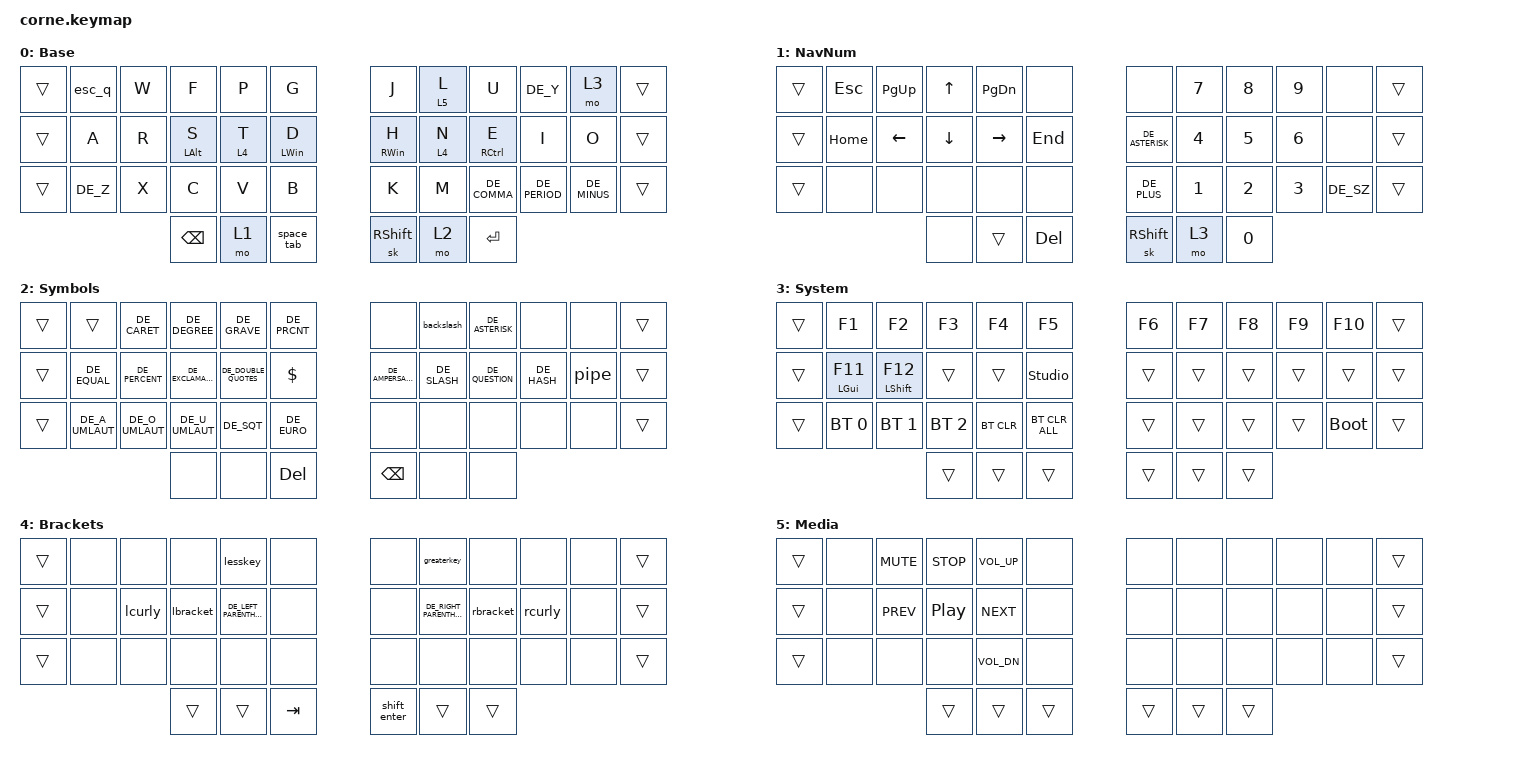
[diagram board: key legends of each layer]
#include <behaviors.dtsi>
#include <dt-bindings/zmk/bt.h>
#include <dt-bindings/zmk/keys.h>
#include <locale/keys_de.h>

#define DEF 0
#define NAV 1
#define SYM 2
#define ADJ 3
#define EXTRA 4
#define MEDIA 5

/ {
    behaviors {
        hm: homerow_mods {
            compatible = "zmk,behavior-hold-tap";
            #binding-cells = <2>;
            flavor = "tap-preferred";
            tapping-term-ms = <280>;        // up from 175
            quick-tap-ms = <175>;           // up slightly
            require-prior-idle-ms = <175>;  // up from 100 — this kills the ctrl+a problem
            bindings = <&kp>, <&kp>;
        };

        para: para {
            compatible = "zmk,behavior-tap-dance";
            #binding-cells = <0>;
            bindings = <&kp LEFT_PARENTHESIS>, <&kp RIGHT_PARENTHESIS>;
        };

        caps: caps {
            compatible = "zmk,behavior-caps-word";
            #binding-cells = <0>;
            continue-list = <MINUS BACKSPACE>;
        };

        paraless: paraless {
            compatible = "zmk,behavior-mod-morph";
            bindings = <&kp LEFT_PARENTHESIS>, <&kp LESS_THAN>;

            #binding-cells = <0>;
            mods = <(MOD_LSFT)>;
        };

        paragreat: paragreat {
            compatible = "zmk,behavior-mod-morph";
            bindings = <&kp RIGHT_PARENTHESIS>, <&kp GREATER_THAN>;

            #binding-cells = <0>;
            mods = <(MOD_LSFT)>;
        };

        esc_q: esc_q {
            compatible = "zmk,behavior-tap-dance";
            label = "ESC_Q";
            #binding-cells = <0>;
            bindings = <&kp Q>, <&kp ESCAPE>;
        };

        space_tab: space_tab {
            compatible = "zmk,behavior-tap-dance";
            label = "SPACE_TAB";
            #binding-cells = <0>;
            bindings = <&kp SPACE>, <&kp TAB>;

            tapping-term-ms = <175>;
        };
    };

    macros {
        browsertab: browsertab {
            compatible = "zmk,behavior-macro";
            #binding-cells = <0>;
            bindings =
                <&macro_press>,
                <&kp LCTRL>,
                <&macro_tap>,
                <&kp TAB>,
                <&macro_release>,
                <&kp LCTRL>;
        };

        // macOS browser reload (CMD+R)
        reload: reload {
            compatible = "zmk,behavior-macro";
            #binding-cells = <0>;
            wait-ms = <0>;
            tap-ms = <0>;
            bindings = <&macro_press &kp LGUI>
                     , <&macro_tap &kp R>
                     , <&macro_release &kp LGUI>;
        };

        // macOS left curly brace (AltGr+8)
        lcurly: lcurly {
            compatible = "zmk,behavior-macro";
            #binding-cells = <0>;
            wait-ms = <0>;
            tap-ms = <0>;
            bindings = <&macro_press &kp RALT>
                     , <&macro_tap &kp N8>
                     , <&macro_release &kp RALT>;
        };

        // macOS right curly brace (AltGr+9)
        rcurly: rcurly {
            compatible = "zmk,behavior-macro";
            #binding-cells = <0>;
            wait-ms = <0>;
            tap-ms = <0>;
            bindings = <&macro_press &kp RALT>
                     , <&macro_tap &kp N9>
                     , <&macro_release &kp RALT>;
        };

        // macOS pipe (AltGr+7)
        pipe: pipe {
            compatible = "zmk,behavior-macro";
            #binding-cells = <0>;
            wait-ms = <0>;
            tap-ms = <0>;
            bindings = <&macro_press &kp RALT>
                     , <&macro_tap &kp N7>
                     , <&macro_release &kp RALT>;
        };

        // macOS backslash (AltGr+Shift+7)
        backslash: backslash {
            compatible = "zmk,behavior-macro";
            #binding-cells = <0>;
            wait-ms = <0>;
            tap-ms = <0>;
            bindings = <&macro_press &kp RALT &kp LSHFT>
                     , <&macro_tap &kp N7>
                     , <&macro_release &kp LSHFT &kp RALT>;
        };

        // macOS less than (<) - German keyboard (NUBS key)
        lesskey: lesskey {
            compatible = "zmk,behavior-macro";
            #binding-cells = <0>;
            wait-ms = <0>;
            tap-ms = <0>;
            bindings = <&macro_tap &kp NUBS>;
        };

        // macOS greater than (>) - German keyboard (Shift + NUBS)
        greaterkey: greaterkey {
            compatible = "zmk,behavior-macro";
            #binding-cells = <0>;
            wait-ms = <0>;
            tap-ms = <0>;
            bindings = <&macro_press &kp LSHFT>
                     , <&macro_tap &kp NUBS>
                     , <&macro_release &kp LSHFT>;
        };

        // macOS left bracket (AltGr+5)
        lbracket: lbracket {
            compatible = "zmk,behavior-macro";
            #binding-cells = <0>;
            wait-ms = <0>;
            tap-ms = <0>;
            bindings = <&macro_press &kp RALT>
                     , <&macro_tap &kp N5>
                     , <&macro_release &kp RALT>;
        };

        // macOS right bracket (AltGr+6)
        rbracket: rbracket {
            compatible = "zmk,behavior-macro";
            #binding-cells = <0>;
            wait-ms = <0>;
            tap-ms = <0>;
            bindings = <&macro_press &kp RALT>
                     , <&macro_tap &kp N6>
                     , <&macro_release &kp RALT>;
        };

        // Shift + Enter
        shift_enter: shift_enter {
            compatible = "zmk,behavior-macro";
            #binding-cells = <0>;
            wait-ms = <0>;
            tap-ms = <0>;
            bindings = <&macro_press &kp LSHFT>
                     , <&macro_tap &kp ENTER>
                     , <&macro_release &kp LSHFT>;
        };
    };

    combos {
        compatible = "zmk,combos";

        // escape {
        //     bindings = <&kp ESCAPE>;
        //     key-positions = <13 29>;
        // };

        // delete {
        //     bindings = <&kp DELETE>;
        //     key-positions = <15 21>;
        // };

        // backslash {
        //     bindings = <&kp BACKSLASH>;
        //     key-positions = <26 14>;
        //     layers = <0>;
        // };

        // slash {
        //     bindings = <&kp SLASH>;
        //     key-positions = <32 20>;
        //     layers = <0>;
        // };
    };

    //

    keymap {
        compatible = "zmk,keymap";

        DEF {
            display-name = "Base";

            // -----------------------------------------------------------------------------------------
            // |  Q  |  W  |  F  |  P  |  G  |   |  J  |  L   |  L  |  U  |  Y  |
            // |  A  |  R  |  S  |  T  |  D  |   |  H  |  N   |  E  |  I  |  O  |
            // |  Z  |  X  |  C  |  V  |  B  |   |  K  |  M   |  ,  |  .  |  /  |
            // | GUI | CTRL | SHFT | LWR | SPC |   | ENT | RSE  | BKSP | ALT | ESC |

            bindings = <
&trans  &esc_q  &kp W  &kp F       &kp P    &kp G             &kp J            &lt 5 L    &kp U          &kp DE_Y          &mo 3         &trans
&trans  &kp A   &kp R  &hm LALT S  &lt 4 T  &hm LEFT_WIN D    &hm RIGHT_WIN H  &lt 4 N  &hm RCTRL E    &kp I          &kp O         &trans
&trans  &kp DE_Z   &kp X  &kp C       &kp V    &kp B             &kp K            &kp M    &kp DE_COMMA   &kp DE_PERIOD  &kp DE_MINUS  &trans
                       &kp BACKSPACE    &mo 1    &space_tab        &sk RIGHT_SHIFT  &mo 2    &kp ENTER
            >;
        };

        NAV {
            display-name = "NavNum";

            // -----------------------------------------------------------------------------------------
            // | | ESC  | P_DOWN |  UP  |  P_UP |     |   |   |  7  |  8  |  9  |    |  |
            // | | HOME | LEFT   | DOWN | RIGHT | END |   | * |  4  |  5  |  6  |    |  |
            // | |      |        |      |       |     |   | + |  1  |  2  |  3  |    |  |
            //                             |  |  | DEL  | SHIFT | Layer3 (ADJ) | 0 |

            bindings = <
&trans  &kp ESCAPE  &kp PAGE_UP  &kp UP_ARROW  &kp PAGE_DOWN  &none         &none             &kp N7  &kp N8   &kp N9  &none  &trans
&trans  &kp HOME    &kp LEFT     &kp DOWN      &kp RIGHT      &kp END       &kp DE_ASTERISK   &kp N4  &kp N5   &kp N6  &none  &trans
&trans  &none       &none        &none         &none          &none         &kp DE_PLUS       &kp N1  &kp N2   &kp N3  &kp DE_SZ  &trans
                                 &none      &trans         &kp DELETE    &sk RIGHT_SHIFT     &mo 3   &kp NUMBER_0
            >;
        };

        SYM {
            display-name = "Symbols";

            // -----------------------------------------------------------------------------------------
            // |  |   |  ^  |  °  |  `  | § |   |     |  \  |  *  |     |     |  |
            // |  | = |  %  |  !  |  "  | $ |   |  &  |  /  |  ?  |  #  | "|" |  |
            // |  |   |     |     |  '  | € |   |     |     |     |     |     |  |
            //            |     |     | DEL |   | BSPC |     |    |

            bindings = <
  &trans  &trans           &kp DE_CARET       &kp DE_DEGREE       &kp DE_GRAVE          &kp DE_PRCNT  &none             &backslash        &kp DE_ASTERISK  &none        &none   &trans
  &trans  &kp DE_EQUAL     &kp DE_PERCENT     &kp DE_EXCLAMATION  &kp DE_DOUBLE_QUOTES  &kp DOLLAR    &kp DE_AMPERSAND  &kp DE_SLASH      &kp DE_QUESTION  &kp DE_HASH  &pipe   &trans
  &trans  &kp DE_A_UMLAUT  &kp DE_O_UMLAUT    &kp DE_U_UMLAUT     &kp DE_SQT            &kp DE_EURO   &none             &none             &none            &none        &none   &trans
                                &none            &none              &kp DELETE    &kp BACKSPACE  &none                &none
            >;
        };

        ADJ {
            display-name = "System";
            bindings = <
&trans  &kp F1        &kp F2         &kp F3        &kp F4      &kp F5            &kp F6  &kp F7  &kp F8  &kp F9  &kp F10      &trans
&trans  &hm LGUI F11  &hm LSHFT F12  &trans        &trans      &studio_unlock    &trans  &trans  &trans  &trans  &trans       &trans
&trans  &bt BT_SEL 0  &bt BT_SEL 1   &bt BT_SEL 2  &bt BT_CLR  &bt BT_CLR_ALL    &trans  &trans  &trans  &trans  &bootloader  &trans
                                     &trans        &trans      &trans            &trans  &trans  &trans
            >;
        };

        EXTRA {
            display-name = "Brackets";

            // -----------------------------------------------------------------------------------------
            // |  |   |     |  <  |    |  |   |   |  >  |     |     |   |  |
            // |  | { |  [  |  (  |    |  |   |   |  )  |  ]  |  }  |   |  |
            // |  |   |     |     |    |  |   |   |     |     |     |   |  |
            //            |     |     | TAB |   | Shift+Enter |     |    |

            bindings = <
  &trans  &none  &none      &none        &lesskey                 &none        &none      &greaterkey              &none         &none       &none  &trans
  &trans  &none  &lcurly    &lbracket    &kp DE_LEFT_PARENTHESIS  &none        &none      &kp DE_RIGHT_PARENTHESIS &rbracket     &rcurly     &none  &trans
  &trans  &none  &none      &none        &none                    &none        &none      &none                    &none         &none       &none  &trans
                           &trans       &trans                   &kp TAB    &shift_enter  &trans                   &trans
            >;
        };

        MEDIA {
            display-name = "Media";

            // -----------------------------------------------------------------------------------------
            // |  |     | MUTE | STOP | VOL+ |     |   |     |     |     |     |     |  |
            // |  |     | PREV | PLAY | NEXT |     |   |     |     |     |     |     |  |
            // |  |     |      |      | VOL- |     |   |     |     |     |     |     |  |
            //            |     |     |      |   |      |     |    |

            bindings = <
  &trans  &none  &kp C_MUTE        &kp C_STOP         &kp C_VOL_UP    &none    &none  &none  &none  &none  &none  &trans
  &trans  &none  &kp C_PREV        &kp C_PLAY_PAUSE   &kp C_NEXT      &none    &none  &none  &none  &none  &none  &trans
  &trans  &none  &none             &none              &kp C_VOL_DN    &none    &none  &none  &none  &none  &none  &trans
                                   &trans             &trans          &trans   &trans &trans &trans
            >;
        };
    };
};

&lt {
    tapping-term-ms = <280>;
    quick-tap-ms = <175>;
    require-prior-idle-ms = <175>;
    flavor = "tap-preferred";
};
